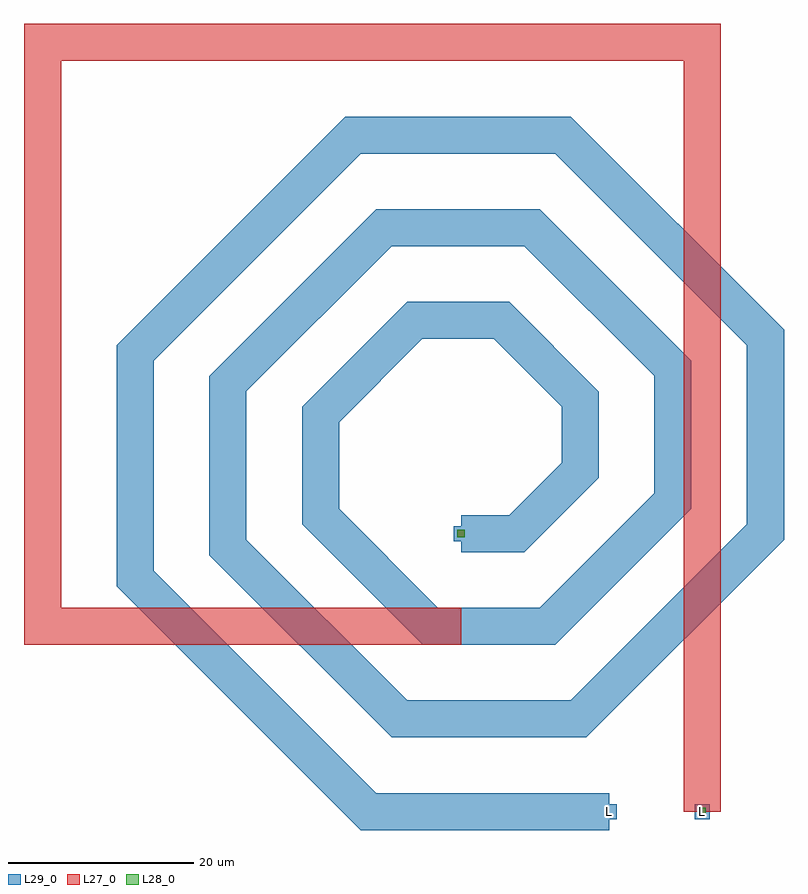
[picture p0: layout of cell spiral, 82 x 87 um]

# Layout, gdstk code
import gdstk
lib = gdstk.Library(unit=1e-6, precision=5e-10)
def R(c, l, rs):  # rectangles x0, y0, x1, y1
    for r in rs: c.add(gdstk.rectangle(r[:2], r[2:], *l))
def P(c, l, *ps):  # polygons
    for p in ps: c.add(gdstk.Polygon(p, *l))
L27_0 = (27, 0)
L28_0 = (28, 0)
L29_0 = (29, 0)

spiral = lib.new_cell('spiral')
R(spiral, L27_0, [(25.6,-30.4,26.4,-29.6), (-0.4,-0.4,0.4,0.4)])
P(spiral, L27_0, [(24,-30),(24,51),(-43.165,51),(-43.165,-8),(0,-8),(0,-12),(-47.165,-12),(-47.165,55),(28,55),(28,-30)])
R(spiral, L28_0, [(25.6,-30.4,26.4,-29.6), (-0.4,-0.4,0.4,0.4)])
R(spiral, L29_0, [(15.2,-30.8,16.8,-29.2), (25.2,-30.8,26.8,-29.2), (25.6,-30.4,26.4,-29.6), (-0.8,-0.8,0.8,0.8), (-0.4,-0.4,0.4,0.4)])
P(spiral, L29_0, [(-10.83,-32),(-37.165,-5.665),(-37.165,20.33),(-12.495,45),(11.83,45),(34.835,21.995),(34.835,-0.665),(13.495,-22),(-7.495,-22),(-27.165,-2.33),(-27.165,16.995),(-9.165,35),(8.495,35),(24.835,18.665),(24.835,2.67),(10.165,-12),(-4.165,-12),(-17.165,1.005),(-17.165,13.665),(-5.83,25),(5.165,25),(14.835,15.33),(14.835,6.005),(6.83,-2),(0,-2),(0,2),(5.17,2),(10.835,7.665),(10.835,13.67),(3.505,21),(-4.17,21),(-13.165,12.005),(-13.165,2.665),(-2.505,-8),(8.505,-8),(20.835,4.33),(20.835,17.005),(6.835,31),(-7.505,31),(-23.165,15.335),(-23.165,-0.67),(-5.835,-18),(11.835,-18),(30.835,0.995),(30.835,20.335),(10.17,41),(-10.835,41),(-33.165,18.67),(-33.165,-4.005),(-9.17,-28),(16,-28),(16,-32)])
spiral.add(gdstk.Label('L', (16,-30), layer=29, texttype=1))
spiral.add(gdstk.Label('L', (26,-30), layer=29, texttype=1))
spiral.add(gdstk.Label('L', (16,-30), layer=29, texttype=1))

lib.write_gds('spiral.gds')
